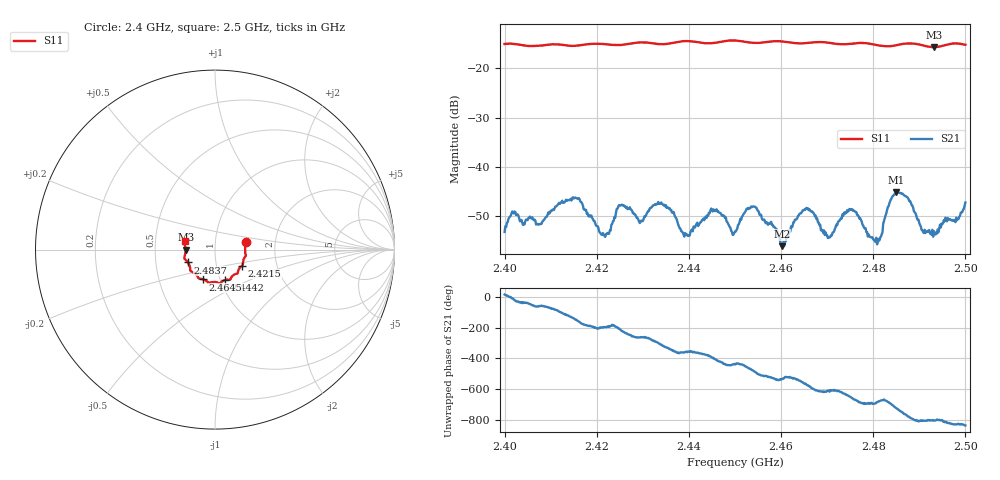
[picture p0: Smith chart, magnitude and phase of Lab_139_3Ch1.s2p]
# Hz S RI R 50
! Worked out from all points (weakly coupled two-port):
!   601 points, 2.4 GHz to 2.5 GHz, reference 50 ohm
!   highest |S21| = -45.13 dB at 2.485 GHz (marker M1); lowest = -56.0 dB at 2.4602 GHz (marker M2)
!   lowest |S11| = -15.7 dB at 2.4932 GHz (marker M3), VSWR 1.39, Z = 35.9 - j0.0572 ohm
!   |S11| at or under -10 dB: start of sweep to end of sweep
!   S12 and S22 are empty: the file has one direction only
!   S11 on the Smith chart (normalised r, x): 2.4 GHz: 1.41, +0.12; 2.4215 GHz: 1.33, -0.25; 2.4442 GHz: 1.05, -0.37; 2.4645 GHz: 0.83, -0.29; 2.4837 GHz: 0.73, -0.11; 2.5 GHz: 0.71, +0.07
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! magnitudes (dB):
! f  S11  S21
! 2.4 GHz  -15.1  -53.1
! 2.4018 GHz  -15.1  -49.1
! 2.4167 GHz  -15.3  -47.1
! 2.4215 GHz  -15.1  -53.7
! 2.4252 GHz  -15.3  -47.8
! 2.4295 GHz  -14.8  -51.0
! 2.4333 GHz  -15.1  -47.1
! 2.4395 GHz  -14.5  -53.6
! 2.4442 GHz  -15.0  -49.8
! 2.45 GHz  -14.4  -53.1
! 2.454 GHz  -14.9  -48.0
! 2.4602 GHz  -14.6  -56.0
! 2.4645 GHz  -15.0  -49.1
! 2.4667 GHz  -14.8  -48.9
! 2.4705 GHz  -14.9  -54.3
! 2.4755 GHz  -15.0  -48.6
! 2.4808 GHz  -15.3  -55.7
! 2.4833 GHz  -15.5  -48.0
! 2.4837 GHz  -15.5  -46.9
! 2.485 GHz  -15.3  -45.1
! 2.4932 GHz  -15.7  -53.0
! 2.5 GHz  -15.3  -47.2
